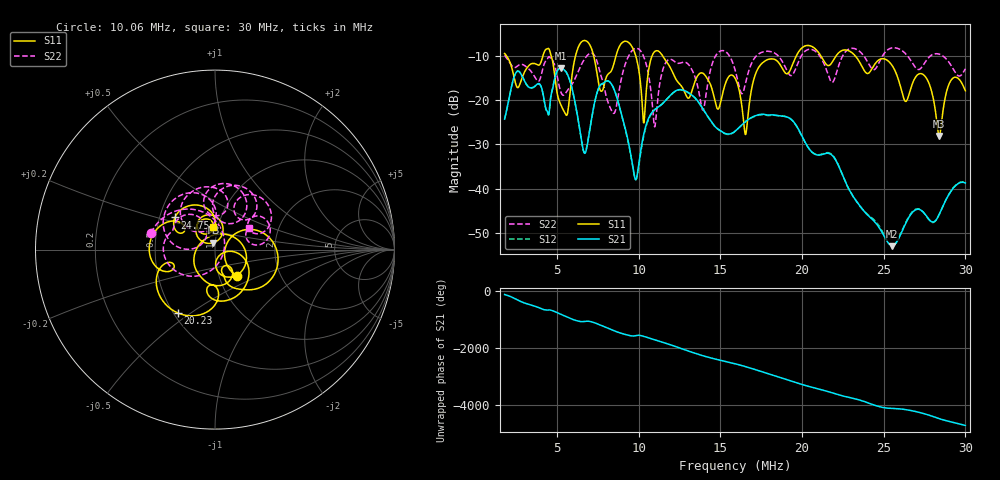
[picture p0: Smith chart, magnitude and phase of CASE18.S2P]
!Agilent Technologies,E5061B,MY49101568,A.02.00
!Date: Wed Mar 01 13:22:19 2023
!Data & Calibration Information:
!Freq	S11:SOLT2(OFF)	S21:SOLT2(OFF)	S12:SOLT2(OFF)	S22:SOLT2(OFF)
# Hz S dB R 50
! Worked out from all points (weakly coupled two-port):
!   1155 points, 1.8 MHz to 30 MHz, reference 50 ohm
!   highest |S21| = -12.87 dB at 5.221 MHz (marker M1); lowest = -53.0 dB at 25.53 MHz (marker M2)
!   lowest |S11| = -28.2 dB at 28.39 MHz (marker M3), VSWR 1.08, Z = 49 + j3.75 ohm
!   |S11| at or under -10 dB: 1.906 MHz to 4.147 MHz (2.242 MHz wide, 74.1 % of centre); 11.46 MHz to 19.66 MHz (8.199 MHz wide, 52.7 % of centre); 23.25 MHz to end of sweep (the widest 3 of 7)
!   |S22| runs from -26.1 to -8.2 dB; largest |S21 - S12| = 0.0029
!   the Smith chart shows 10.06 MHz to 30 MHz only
!   S11 on the Smith chart (normalised r, x): 10.06 MHz: 1.21, -0.37; 20.23 MHz: 0.53, -0.45; 24.75 MHz: 0.60, +0.23; 30 MHz: 0.95, +0.24
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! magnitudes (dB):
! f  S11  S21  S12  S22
! 1.8 MHz  -9.5  -24.3  -24.3  -9.9
! 2.606 MHz  -17.2  -13.5  -13.4  -12.3
! 4.464 MHz  -8.4  -23.2  -23.3  -10.5
! 5.221 MHz  -20.9  -12.9  -12.8  -18.0
! 6.516 MHz  -6.9  -29.4  -29.5  -11.9
! 8.129 MHz  -14.2  -15.7  -15.7  -20.5
! 10.06 MHz  -14.4  -33.2  -33.7  -8.7
! 10.33 MHz  -25.1  -27.5  -27.9  -10.4
! 11.21 MHz  -9.0  -21.6  -21.6  -18.6
! 13.02 MHz  -19.6  -18.3  -18.3  -11.8
! 13.92 MHz  -13.9  -21.9  -21.9  -22.3
! 15.9 MHz  -15.0  -27.1  -27.1  -13.1
! 16.56 MHz  -27.7  -24.8  -24.9  -16.0
! 17.42 MHz  -12.3  -23.3  -23.4  -9.5
! 20.23 MHz  -7.8  -29.8  -29.8  -8.9
! 20.62 MHz  -8.0  -31.8  -31.8  -8.6
! 24.75 MHz  -10.9  -48.9  -48.5  -11.3
! 25.31 MHz  -11.3  -52.4  -52.3  -8.5
! 25.53 MHz  -12.3  -53.0  -52.8  -8.2
! 27.58 MHz  -14.9  -46.0  -46.1  -11.2
! 28.39 MHz  -28.2  -45.9  -45.9  -9.7
! 30 MHz  -17.9  -38.7  -38.7  -13.0
